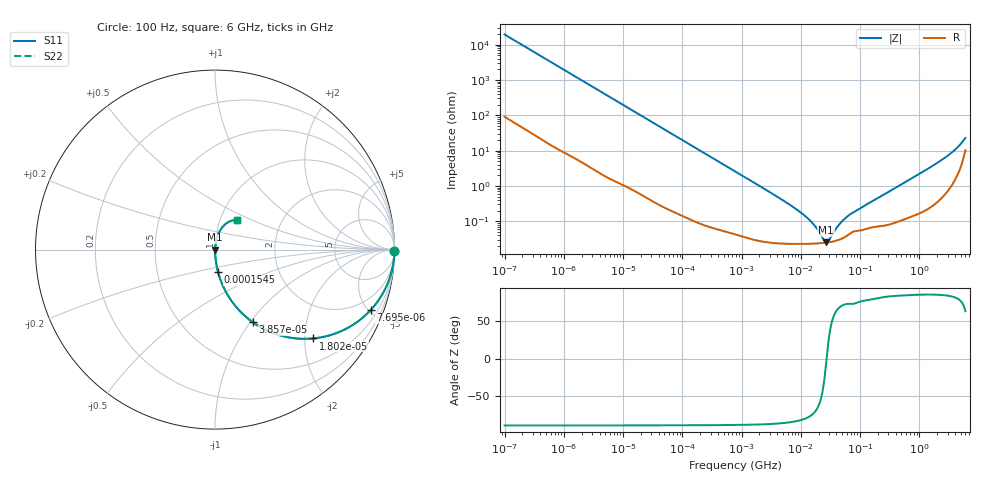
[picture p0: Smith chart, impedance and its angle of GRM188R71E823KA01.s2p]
!Murata Part Number: GRM188R71E823KA01
!These Parameters are Measured in Series Mode Connection
!Data Generated on Mar 30, 2021
!  o--ll--o
!Port1  Port2
!  o------o
!Operation Temp=25[degC], DC Bias Voltage=0[V]
!Freq. Start=100[Hz] Stop=6[GHz] 401[Steps]
# Hz S RI R 50
!Freq.(Hz) S11(Real) S11(Imag) S21(Real) S21(Imag) S12(Real) S12(Imag) S22(Real) S22(Imag)
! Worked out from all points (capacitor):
!   401 points, 100 Hz to 6 GHz, reference 50 ohm
!   read as one part in series: C = 81.5 nF near 109 Hz
!   lowest |Z| = 25.1 mohm at 26.62 MHz (marker M1)
!   series resonance near 27.27 MHz, so ESL is about 420 pH
!   S11 on the Smith chart (normalised r, x): 100 Hz: open; 7.695 kHz: 1.03, -5.13; 18.02 kHz: 1.01, -2.20; 38.57 kHz: 1.01, -1.03; 154.5 kHz: 1.00, -0.26; 6 GHz: 1.20, +0.41
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100  0.9999 -0.00513  5.04e-05 0.00513  5.04e-05 0.00513  0.9999 -0.00513
627  0.9988 -0.0319  0.00116 0.0319  0.00116 0.0319  0.9988 -0.0319
2008  0.9892 -0.1009  0.0108 0.1009  0.0108 0.1009  0.9892 -0.1009
4496  0.9497 -0.2163  0.0503 0.2163  0.0503 0.2163  0.9497 -0.2163
7695  0.8669 -0.3372  0.1331 0.3372  0.1331 0.3372  0.8669 -0.3372
18016  0.547 -0.4949  0.453 0.4949  0.453 0.4949  0.547 -0.4949
38569  0.211 -0.405  0.789 0.405  0.789 0.405  0.211 -0.405
40335  0.1966 -0.3945  0.8034 0.3945  0.8034 0.3945  0.1966 -0.3945
72189  0.0721 -0.2553  0.9279 0.2553  0.9279 0.2553  0.0721 -0.2553
154540  0.0174 -0.1268  0.9826 0.1268  0.9826 0.1268  0.0174 -0.1268
774597  0.0011 -0.0259  0.9989 0.0259  0.9989 0.0259  0.0011 -0.0259
6644369  0.000238 -0.00287  0.9998 0.00287  0.9998 0.00287  0.000238 -0.00287
1.555665e7  0.000233 -0.000878  0.9998 0.000878  0.9998 0.000878  0.000233 -0.000878
2.434276e7  0.000244 -0.000169  0.9998 0.000169  0.9998 0.000169  0.000244 -0.000169
2.662322e7  0.000248 -3.51e-05  0.9998 3.51e-05  0.9998 3.51e-05  0.000248 -3.51e-05
2.911731e7  0.000253 9.8e-05  0.9997 -9.8e-05  0.9997 -9.8e-05  0.000253 9.8e-05
4.35672e7  0.000297 0.000722  0.9997 -0.000722  0.9997 -0.000722  0.000297 0.000722
6.233367e7  0.000408 0.00135  0.9996 -0.00135  0.9996 -0.00135  0.000408 0.00135
3.124326e8  0.000858 0.00695  0.9991 -0.00695  0.9991 -0.00695  0.000858 0.00695
2.34314e9  0.00719 0.0527  0.9928 -0.0527  0.9928 -0.0527  0.00719 0.0527
4.385646e9  0.0332 0.1144  0.9668 -0.1144  0.9668 -0.1144  0.0332 0.1144
6e9  0.1232 0.1632  0.8768 -0.1632  0.8768 -0.1632  0.1232 0.1632
